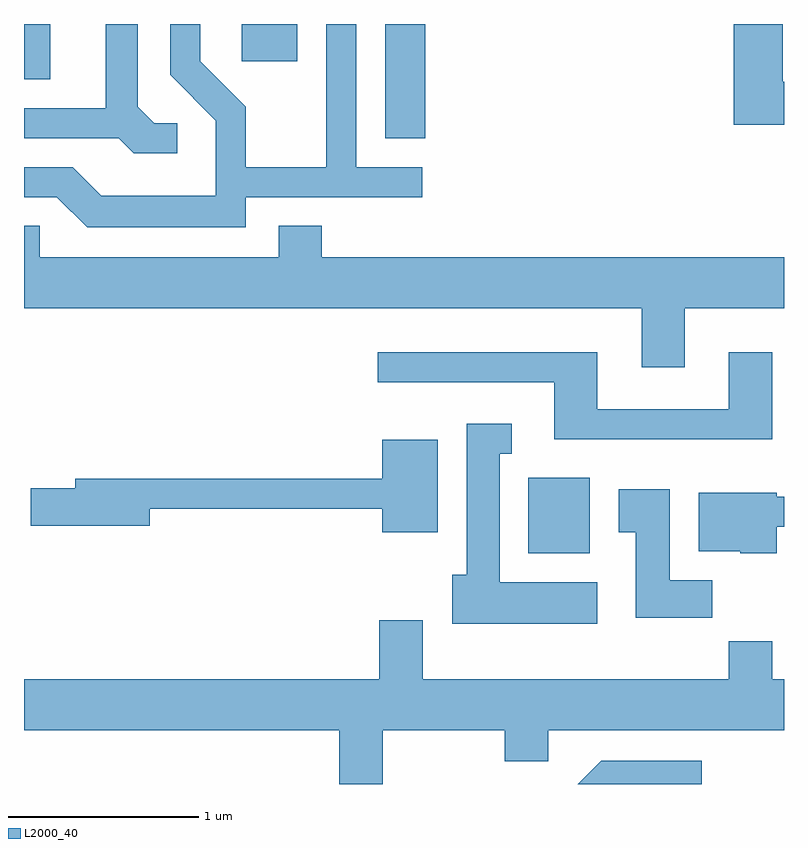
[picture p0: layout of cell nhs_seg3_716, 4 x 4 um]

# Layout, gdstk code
import gdstk
lib = gdstk.Library(unit=1e-6, precision=1e-09)
def R(c, l, rs):  # rectangles x0, y0, x1, y1
    for r in rs: c.add(gdstk.rectangle(r[:2], r[2:], *l))
def P(c, l, *ps):  # polygons
    for p in ps: c.add(gdstk.Polygon(p, *l))
L2000_40 = (2000, 40)

nhs_seg3_716 = lib.new_cell('nhs_seg3_716')
R(nhs_seg3_716, L2000_40, [(208.266,1189.106,208.589,1189.504), (207.511,1191.291,207.724,1191.892), (205.611,1191.601,205.749,1191.892), (206.756,1191.696,207.049,1191.892)])
P(nhs_seg3_716, L2000_40, [(206.418,1191.369),(206.297,1191.369),(206.209,1191.457),(206.209,1191.892),(206.041,1191.892),(206.041,1191.449),(205.611,1191.449),(205.611,1191.291),(206.109,1191.291),(206.189,1191.211),(206.418,1191.211)],
  [(209.611,1191.589),(209.604,1191.589),(209.604,1191.892),(209.346,1191.892),(209.346,1191.361),(209.611,1191.361)],
  [(206.779,1190.981),(207.708,1190.981),(207.708,1191.139),(207.359,1191.139),(207.359,1191.892),(207.201,1191.892),(207.201,1191.139),(206.779,1191.139),(206.779,1191.457),(206.539,1191.697),(206.539,1191.892),(206.381,1191.892),(206.381,1191.624),(206.621,1191.384),(206.621,1190.989),(206.017,1190.989),(205.867,1191.139),(205.611,1191.139),(205.611,1190.981),(205.784,1190.981),(205.944,1190.821),(206.779,1190.821)],
  [(209.089,1190.396),(209.611,1190.396),(209.611,1190.664),(207.179,1190.664),(207.179,1190.829),(206.951,1190.829),(206.951,1190.664),(205.694,1190.664),(205.694,1190.829),(205.611,1190.829),(205.611,1190.396),(208.861,1190.396),(208.861,1190.086),(209.089,1190.086)],
  [(209.549,1190.164),(209.321,1190.164),(209.321,1189.864),(208.629,1189.864),(208.629,1190.164),(207.473,1190.164),(207.473,1190.006),(208.401,1190.006),(208.401,1189.706),(209.549,1189.706)],
  [(208.629,1188.954),(208.114,1188.954),(208.114,1189.631),(208.178,1189.631),(208.178,1189.789),(207.941,1189.789),(207.941,1188.994),(207.866,1188.994),(207.866,1188.736),(208.629,1188.736)],
  [(207.789,1189.704),(207.496,1189.704),(207.496,1189.499),(205.881,1189.499),(205.881,1189.449),(205.646,1189.449),(205.646,1189.251),(206.274,1189.251),(206.274,1189.341),(207.496,1189.341),(207.496,1189.216),(207.789,1189.216)],
  [(209.234,1188.964),(209.009,1188.964),(209.009,1189.444),(208.741,1189.444),(208.741,1189.216),(208.831,1189.216),(208.831,1188.766),(209.234,1188.766)],
  [(209.574,1189.246),(209.611,1189.246),(209.611,1189.404),(209.574,1189.404),(209.574,1189.424),(209.161,1189.424),(209.161,1189.116),(209.38,1189.116),(209.38,1189.106),(209.574,1189.106)],
  [(207.499,1188.176),(208.141,1188.176),(208.141,1188.011),(208.369,1188.011),(208.369,1188.176),(209.611,1188.176),(209.611,1188.444),(209.549,1188.444),(209.549,1188.644),(209.321,1188.644),(209.321,1188.444),(207.709,1188.444),(207.709,1188.754),(207.481,1188.754),(207.481,1188.444),(205.611,1188.444),(205.611,1188.176),(207.271,1188.176),(207.271,1187.892),(207.499,1187.892)],
  [(209.178,1188.014),(208.649,1188.014),(208.526,1187.892),(209.178,1187.892)])

lib.write_gds('nhs_seg3_716.gds')
